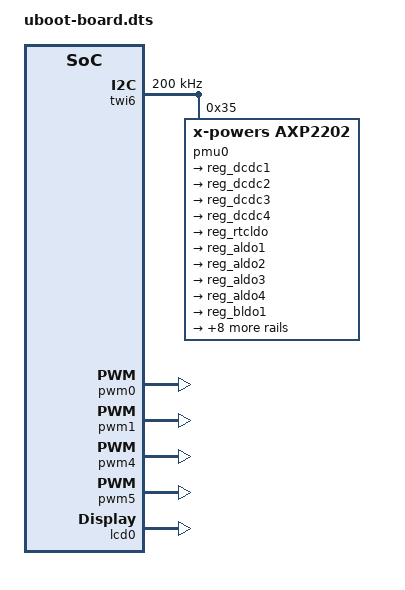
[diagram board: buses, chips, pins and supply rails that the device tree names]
/*
 * Allwinner Technology CO., Ltd. sun50iw10p1 soc board.
 *
 * soc board support.
 */
&power_sply {
	bldo1_vol = <1800>;
	bldo2_vol = <1001800>;
	bldo3_vol = <1001800>;
	cldo2_vol = <1001800>;
	cldo4_vol = <1103300>;
	dcdc1_mode = <1>;
	ext_dcdc0_mode = <1>;
	ext_dcdc1_mode = <1>;
	ext_dcdc2_mode = <1>;
	dcdc2_mode = <1>;
	dcdc3_mode = <1>;
	bc12_mode = <0>;
	ntc_status = <2>;
	battery_exist = <0>;
};

&platform {
	eraseflag   = <1>;
	next_work   = <3>;
	debug_mode  = <1>;
};

/*
 *recovery_key_used :  模块使能端，    1：开启，0：关闭
 *press_mode_enable :  长短按模式使能，1：开启，0：关闭
 *                     a)如果开启了该模式，则key_work_mode失效，short_press_mode和long_press_mode生效,
 *                     recovery按键可以通过长按和短按来触发两种不同的模式;
 *                     b)如果关闭了该模式，则key_work_mode生效，recovery按键只能触发一种模式.
 *key_work_mode     :  模式选择
 *                     0: 刷机,
 *                     1: 一键恢复(uboot阶段),
 *                     2: 安卓recovery,
 *                     3: 安卓恢复出厂设置.
 *                     如果不设置，模式为安卓recovery.
 *short_press_mode  :  长按触发的模式，选项同上.
 *long_press_mode   :  短按触发的模式，选项同上.
 *key_press_time    :  定义长按的时间，单位:毫秒.
 *recovery_key      :  按键配置.
 */
&adc_boot_recovery {
       recovery_adc_used = <0x1>;
       recovery_adc_channel = <0x1>;
       press_mode_enable = <0x1>;
       adc_work_mode = <0x2>;
       short_press_mode = <0x0>;
       long_press_mode = <0x2>;
       key_press_time = <0x1388>;
       key_min = <9>;
       key_max = <11>;
};

&target {
	boot_clock = <1008>;	/*CPU boot frequency, Unit: MHz*/
	storage_type = <0xffffffff>; /*boot medium, 0-nand, 1-card0, 2-card2, -1(defualt)auto scan*/
	burn_key = <1>;		/*1:support burn key; 0:not support burn key*/
	dragonboard_test = <0>;	/*1:support card boot dragonboard; 0:not support card boot dragonboard*/
};

&charger0 {
	pmu_safe_vol = <3400>;
	ntc_cur = <50>;
	safe_temp_H = <600>;//60
	safe_temp_L = <0xFFFFFFCE>;//-5
	pmu_bat_temp_para1 = <4592>;
	pmu_bat_temp_para2 = <2781>;
	pmu_bat_temp_para3 = <2125>;
	pmu_bat_temp_para4 = <1738>;
	pmu_bat_temp_para5 = <1390>;
	pmu_bat_temp_para6 = <1118>;
	pmu_bat_temp_para7 = <906>;
	pmu_bat_temp_para8 = <606>;
	pmu_bat_temp_para9 = <415>;
	pmu_bat_temp_para10 = <290>;
	pmu_bat_temp_para11 = <244>;
	pmu_bat_temp_para12 = <206>;
	pmu_bat_temp_para13 = <175>;
	pmu_bat_temp_para14 = <150>;
	pmu_bat_temp_para15 = <110>;
	pmu_bat_temp_para16 = <83>;
};

&twi6 {
	clock-frequency = <200000>;
	pinctrl-0 = <&s_twi0_pins_a>;
	pinctrl-1 = <&s_twi0_pins_b>;
	twi-supply = <&reg_aldo3>;
	no_suspend = <1>;
	twi_drv_used = <1>;
	status = "okay";
	pmu0: pmu@34 {
		compatible = "x-powers,axp2202";
		status = "okay";
		reg = <0x35>;
		/* interrupts = <0 IRQ_TYPE_LEVEL_LOW>;
		 * interrupt-parent = <&gic>; */
		x-powers,drive-vbus-en;

		wakeup-source;

		regulator0: regulators@0 {
			reg_dcdc1: dcdc1 {
				regulator-name = "axp2202-dcdc1";
			};
			reg_dcdc2: dcdc2 {
				regulator-name = "axp2202-dcdc2";
			};
			reg_dcdc3: dcdc3 {
				regulator-name = "axp2202-dcdc3";
			};
			reg_dcdc4: dcdc4 {
				regulator-name = "axp2202-dcdc4";
			};
			reg_rtcldo: rtcldo {
				/* RTC_LDO is a fixed, always-on regulator */
				regulator-name = "axp2202-rtcldo";
			};
			reg_aldo1: aldo1 {
				regulator-name = "axp2202-aldo1";
			};
			reg_aldo2: aldo2 {
				regulator-name = "axp2202-aldo2";
			};
			reg_aldo3: aldo3 {
				regulator-name = "axp2202-aldo3";
			};
			reg_aldo4: aldo4 {
				regulator-name = "axp2202-aldo4";
			};
			reg_bldo1: bldo1 {
				regulator-name = "axp2202-bldo1";
			};
			reg_bldo2: bldo2 {
				regulator-name = "axp2202-bldo2";
			};
			reg_bldo3: bldo3 {
				regulator-name = "axp2202-bldo3";
			};
			reg_bldo4: bldo4 {
				regulator-name = "axp2202-bldo4";
			};
			reg_cldo1: cldo1 {
				regulator-name = "axp2202-cldo1";
			};
			reg_cldo2: cldo2 {
				regulator-name = "axp2202-cldo2";
			};
			reg_cldo3: cldo3 {
				regulator-name = "axp2202-cldo3";
			};
			reg_cldo4: cldo4 {
				regulator-name = "axp2202-cldo4";
			};
			reg_cpusldo: cpusldo {
				regulator-name = "axp2202-cpusldo";
			};
		};
	};
};

&recovery_key {
	device_type = "recovery_key";
	key_max = <11>;
	key_min = <9>;
};

&pwm0_pin_a {
	allwinner,pins = "PD23";
	allwinner,function = "pwm0";
	allwinner,drive = <0>;
	allwinner,muxsel = <0x02>;
};

&pwm0_pin_b {
	allwinner,pins = "PD23";
	allwinner,function = "io_disabled";
	allwinner,muxsel = <0x0f>;
	allwinner,drive = <0>;
	allwinner,pull = <0>;
};

&pwm1_pin_a {
	allwinner,pins = "PD22";
	allwinner,function = "pwm1";
	allwinner,drive = <0>;
	allwinner,muxsel = <0x02>;
};

&pwm1_pin_b {
	allwinner,pins = "PD22";
	allwinner,function = "io_disabled";
	allwinner,muxsel = <0x0f>;
	allwinner,drive = <0>;
	allwinner,pull = <0>;
};

&pwm2_pin_a {
	allwinner,pins = "PB11";
	allwinner,function = "pwm2";
	allwinner,drive = <0>;
	allwinner,muxsel = <0x05>;
};

&pwm2_pin_b {
	allwinner,pins = "PB11";
	allwinner,function = "io_disabled";
	allwinner,muxsel = <0x0f>;
	allwinner,drive = <0>;
	allwinner,pull = <0>;
};

&pwm3_pin_a {
	allwinner,pins = "PB12";
	allwinner,function = "pwm3";
	allwinner,drive = <0>;
	allwinner,muxsel = <0x05>;
};

&pwm3_pin_b {
	allwinner,pins = "PB12";
	allwinner,function = "io_disabled";
	allwinner,muxsel = <0x0f>;
	allwinner,drive = <0>;
	allwinner,pull = <0>;
};

&pwm4_pin_a {
	allwinner,pins = "PI3";
	allwinner,function = "pwm4";
	allwinner,drive = <0>;
	allwinner,muxsel = <0x04>;
};

&pwm4_pin_b {
	allwinner,pins = "PI3";
	allwinner,function = "io_disabled";
	allwinner,muxsel = <0x0f>;
	allwinner,drive = <0>;
	allwinner,pull = <0>;
};

&pwm5_pin_a {
	allwinner,pins = "PI4";
	allwinner,function = "pwm5";
	allwinner,drive = <0>;
	allwinner,muxsel = <0x04>;
};

&pwm5_pin_b {
	allwinner,pins = "PI4";
	allwinner,function = "io_disabled";
	allwinner,muxsel = <0x0f>;
	allwinner,drive = <0>;
	allwinner,pull = <0>;
};

&pwm0 {
	pinctrl-names = "active", "sleep";
	pinctrl-0 = <&pwm0_pin_a>;
	pinctrl-1 = <&pwm0_pin_b>;
	status = "okay";
};

&pwm1 {
	pinctrl-names = "active", "sleep";
	pinctrl-0 = <&pwm1_pin_a>;
	pinctrl-1 = <&pwm1_pin_b>;
	status = "okay";
};

&pwm2 {
	pinctrl-names = "active", "sleep";
	pinctrl-0 = <&pwm2_pin_a>;
	pinctrl-1 = <&pwm2_pin_b>;
	status = "disabled";
};

&pwm3 {
	pinctrl-names = "active", "sleep";
	pinctrl-0 = <&pwm3_pin_a>;
	pinctrl-1 = <&pwm3_pin_b>;
	status = "disabled";
};

&pwm4 {
	pinctrl-names = "active", "sleep";
	pinctrl-0 = <&pwm4_pin_a>;
	pinctrl-1 = <&pwm4_pin_b>;
	status = "okay";
};

&pwm5 {
	pinctrl-names = "active", "sleep";
	pinctrl-0 = <&pwm5_pin_a>;
	pinctrl-1 = <&pwm5_pin_b>;
	status = "okay";
};

&sdc0_pins_a {
	allwinner,pins = "PF0", "PF1", "PF2",
			 "PF3", "PF4", "PF5";
	allwinner,function = "sdc0";
	allwinner,muxsel = <2>;
	allwinner,drive = <3>;
	allwinner,pull = <1>;
};

&sdc0_pins_b {
	allwinner,pins = "PF0", "PF1", "PF2",
			 "PF3", "PF4", "PF5";
	allwinner,function = "io_disabled";
	allwinner,muxsel = <7>;
	allwinner,drive = <1>;
	allwinner,pull = <1>;
};

&sdc0_pins_c {
	allwinner,pins = "PF0", "PF1", "PF2",
			 "PF3", "PF4", "PF5";
	allwinner,function = "uart0_jtag";
	allwinner,muxsel = <3>;
	allwinner,drive = <1>;
	allwinner,pull = <1>;
};


&sdc2_pins_a {
	allwinner,pins = "PC1", "PC5", "PC6",
			 "PC8", "PC9", "PC10", "PC11",
			 "PC13", "PC14", "PC15", "PC16";
	allwinner,function = "sdc2";
	allwinner,muxsel = <3>;
	allwinner,drive = <3>;
	allwinner,pull = <1>;
};

&sdc2_pins_b {
	allwinner,pins = "PC0", "PC1", "PC5", "PC6",
			 "PC8", "PC9", "PC10", "PC11",
			 "PC13", "PC14", "PC15", "PC16";
	allwinner,function = "io_disabled";
	allwinner,muxsel = <7>;
	allwinner,drive = <1>;
	allwinner,pull = <1>;
};

&sdc2_pins_c {
	allwinner,pins = "PC0";
	allwinner,function = "sdc2";
	allwinner,muxsel = <3>;
	allwinner,drive = <3>;
	allwinner,pull = <2>;
};

&nand0_pins_a {
	allwinner,pins = "PC0", "PC1", "PC2", "PC5",
			 "PC8", "PC9", "PC10", "PC11",
			 "PC12", "PC13", "PC14", "PC15",
			 "PC16";
	allwinner,pname= "nand0_we", "nand0_ale","nand0_cle", "nand0_nre",
			 "nand0_d0", "nand0_d1", "nand0_d2", "nand0_d3",
			 "nand0_d4", "nand0_d5", "nand0_d6", "nand0_d7",
			 "nand0_ndqs";
	allwinner,function = "nand0";
	allwinner,muxsel = <2>;
	allwinner,drive = <1>;
	allwinner,pull = <0>;
};

&nand0_pins_b {
	allwinner,pins = "PC4", "PC6", "PC03", "PC07";
	allwinner,pname= "nand0_ce0", "nand0_rb0", "nand0_ce1", "nand0_rb1";
	allwinner,function = "nand0";
	allwinner,muxsel = <2>;
	allwinner,drive = <1>;
	allwinner,pull = <1>;	/* only RB&CE should be pulled up */
};

&nand0_pins_c {
	allwinner,pins = "PC0", "PC1", "PC2", "PC3",
			 "PC4", "PC5", "PC6", "PC7",
			 "PC8", "PC9", "PC10", "PC11",
			 "PC12", "PC13", "PC14", "PC15",
			 "PC16";
	allwinner,function = "io_disabled";
	allwinner,muxsel = <7>;
	allwinner,drive = <1>;
	allwinner,pull = <0>;
};

&spi0_pins_a {
	allwinner,pins = "PC12", "PC2", "PC4";
	allwinner,pname = "spi0_clk", "spi0_mosi", "spi0_miso";
	allwinner,function = "spi0";
	allwinner,muxsel = <4>;
	allwinner,drive = <1>;
	allwinner,pull = <0>;
};

&spi0_pins_b {
	allwinner,pins = "PC3", "PC15", "PC16";
	allwinner,pname = "spi0_cs0", "spi0_wp", "spi0_hold";
	allwinner,function = "spi0";
	allwinner,muxsel = <4>;
	allwinner,drive = <1>;
	allwinner,pull = <1>;   // only CS should be pulled up
};

&spi0_pins_c {
	allwinner,pins = "PC12", "PC2", "PC4", "PC3", "PC15", "PC16";
	allwinner,function = "io_disabled";
	allwinner,muxsel = <15>;
	allwinner,drive = <1>;
	allwinner,pull = <0>;
};

&lvds0_pins_a {
	allwinner,pins = "PD0", "PD1", "PD2", "PD3", "PD4", "PD5", "PD8", "PD9", "PD6", "PD7";
	allwinner,pname = "PD0", "PD1", "PD2", "PD3", "PD4", "PD5", "PD8", "PD9", "PD6", "PD7";
	allwinner,function = "lvds0";
	allwinner,muxsel = <3>;
	allwinner,drive = <3>;
	allwinner,pull = <0>;
};

&lvds0_pins_b {
	allwinner,pins = "PD0", "PD1", "PD2", "PD3", "PD4", "PD5", "PD8", "PD9", "PD6", "PD7";
	allwinner,pname = "PD0", "PD1", "PD2", "PD3", "PD4", "PD5", "PD8", "PD9", "PD6", "PD7";
	allwinner,function = "lvds0_suspend";
	allwinner,muxsel = <7>;
	allwinner,drive = <3>;
	allwinner,pull = <0>;
};

&lvds1_pins_a {
	allwinner,pins = "PD10", "PD11", "PD12", "PD13", "PD14", "PD15", "PD18", "PD19", "PD16", "PD17";
	allwinner,pname = "PD10", "PD11", "PD12", "PD13", "PD14", "PD15", "PD18", "PD19", "PD16", "PD17";
	allwinner,function = "lvds1";
	allwinner,muxsel = <3>;
	allwinner,drive = <3>;
	allwinner,pull = <0>;
};

&lvds1_pins_b {
	allwinner,pins = "PD10", "PD11", "PD12", "PD13", "PD14", "PD15", "PD18", "PD19", "PD16", "PD17";
	allwinner,pname = "PD10", "PD11", "PD12", "PD13", "PD14", "PD15", "PD18", "PD19", "PD16", "PD17";
	allwinner,function = "lvds1_suspend";
	allwinner,muxsel = <7>;
	allwinner,drive = <3>;
	allwinner,pull = <0>;
};

&lvds2_pins_a {
	allwinner,pins = "PJ7", "PJ6", "PJ5", "PJ4", "PJ3", "PJ2", "PJ1", "PJ0", "PJ8", "PJ9";
	allwinner,pname = "PJ7", "PJ6", "PJ5", "PJ4", "PJ3", "PJ2", "PJ1", "PJ0", "PJ8", "PJ9";
	allwinner,function = "lvds2";
	allwinner,muxsel = <3>;
	allwinner,drive = <3>;
	allwinner,pull = <0>;
};

&lvds2_pins_b {
	allwinner,pins = "PJ7", "PJ6", "PJ5", "PJ4", "PJ3", "PJ2", "PJ1", "PJ0", "PJ8", "PJ9";
	allwinner,pname = "PJ7", "PJ6", "PJ5", "PJ4", "PJ3", "PJ2", "PJ1", "PJ0", "PJ8", "PJ9";
	allwinner,function = "lvds2_suspend";
	allwinner,muxsel = <7>;
	allwinner,drive = <3>;
	allwinner,pull = <0>;
};

&lvds3_pins_a {
	allwinner,pins = "PJ10", "PJ11", "PJ12", "PJ13", "PJ14", "PJ15", "PJ16", "PJ17", "PJ18", "PJ19";
	allwinner,pname = "PJ10", "PJ11", "PJ12", "PJ13", "PJ14", "PJ15", "PJ16", "PJ17", "PJ18", "PJ19";
	allwinner,function = "lvds3";
	allwinner,muxsel = <3>;
	allwinner,drive = <3>;
	allwinner,pull = <0>;
};

&lvds3_pins_b {
	allwinner,pins = "PJ10", "PJ11", "PJ12", "PJ13", "PJ14", "PJ15", "PJ16", "PJ17", "PJ18", "PJ19";
	allwinner,pname = "PJ10", "PJ11", "PJ12", "PJ13", "PJ14", "PJ15", "PJ16", "PJ17", "PJ18", "PJ19";
	allwinner,function = "lvds3_suspend";
	allwinner,muxsel = <7>;
	allwinner,drive = <3>;
	allwinner,pull = <0>;
};

&lcd1_lvds2link_pins_a {
	allwinner,pins = "PJ10", "PJ11", "PJ12", "PJ13", "PJ14", "PJ15", "PJ16", "PJ17", "PJ18", "PJ19", \
	"PJ7", "PJ6", "PJ5", "PJ4", "PJ3", "PJ2", "PJ1", "PJ0", "PJ8", "PJ9";
	allwinner,pname = "PJ10", "PJ11", "PJ12", "PJ13", "PJ14", "PJ15", "PJ16", "PJ17", "PJ18", "PJ19", \
	"PJ7", "PJ6", "PJ5", "PJ4", "PJ3", "PJ2", "PJ1", "PJ0", "PJ8", "PJ9";
	allwinner,function = "lvds3";
	allwinner,muxsel = <3>;
	allwinner,drive = <3>;
	allwinner,pull = <0>;
};

&lcd1_lvds2link_pins_b {
	allwinner,pins = "PJ10", "PJ11", "PJ12", "PJ13", "PJ14", "PJ15", "PJ16", "PJ17", "PJ18", "PJ19", \
	"PJ7", "PJ6", "PJ5", "PJ4", "PJ3", "PJ2", "PJ1", "PJ0", "PJ8", "PJ9";
	allwinner,pname = "PJ10", "PJ11", "PJ12", "PJ13", "PJ14", "PJ15", "PJ16", "PJ17", "PJ18", "PJ19", \
	"PJ7", "PJ6", "PJ5", "PJ4", "PJ3", "PJ2", "PJ1", "PJ0", "PJ8", "PJ9";
	allwinner,function = "lvds3_suspend";
	allwinner,muxsel = <7>;
	allwinner,drive = <3>;
	allwinner,pull = <0>;
};

&lvds2link_pins_a {
	allwinner,pins = "PD0", "PD1", "PD2", "PD3", "PD4", "PD5", "PD8", "PD9", "PD6", "PD7", \
	"PD10", "PD11", "PD12", "PD13", "PD14", "PD15", "PD18", "PD19", "PD16", "PD17";
	allwinner,pname = "PD0", "PD1", "PD2", "PD3", "PD4", "PD5", "PD8", "PD9", "PD6", "PD7", \
	"PD10", "PD11", "PD12", "PD13", "PD14", "PD15", "PD18", "PD19", "PD16", "PD17";
	allwinner,function = "lvds2link";
	allwinner,muxsel = <3>;
	allwinner,drive = <3>;
	allwinner,pull = <0>;
};

&lvds2link_pins_b {
	allwinner,pins = "PD0", "PD1", "PD2", "PD3", "PD4", "PD5", "PD8", "PD9", "PD6", "PD7", \
	"PD10", "PD11", "PD12", "PD13", "PD14", "PD15", "PD18", "PD19", "PD16", "PD17";
	allwinner,pname = "PD0", "PD1", "PD2", "PD3", "PD4", "PD5", "PD8", "PD9", "PD6", "PD7", \
	"PD10", "PD11", "PD12", "PD13", "PD14", "PD15", "PD18", "PD19", "PD16", "PD17";
	allwinner,function = "lvds2link_suspend";
	allwinner,muxsel = <7>;
	allwinner,drive = <3>;
	allwinner,pull = <0>;
};

&rgb24_pins_a {
	allwinner,pins = "PJ0", "PJ1", "PJ2", "PJ3", "PJ4", "PJ5", "PJ6", "PJ7", "PJ8", "PJ9", \
	"PJ10", "PJ11", "PJ12", "PJ13", "PJ14", "PJ15", "PJ16", "PJ17", "PJ18", "PJ19", \
	"PJ20", "PJ21", "PJ22", "PJ23", "PJ24", "PJ25", "PJ26", "PJ27";
	allwinner,pname = "PJ0", "PJ1", "PJ2", "PJ3", "PJ4", "PJ5", "PJ6", "PJ7", "PJ8", "PJ9", \
	"PJ10", "PJ11", "PJ12", "PJ13", "PJ14", "PJ15", "PJ16", "PJ17", "PJ18", "PJ19", \
	"PJ20", "PJ21", "PJ22", "PJ23", "PJ24", "PJ25", "PJ26", "PJ27";
	allwinner,function = "rgb24";
	allwinner,muxsel = <2>;
	allwinner,drive = <3>;
	allwinner,pull = <0>;
};

&rgb24_pins_b {
	allwinner,pins = "PJ0", "PJ1", "PJ2", "PJ3", "PJ4", "PJ5", "PJ6", "PJ7", "PJ8", "PJ9", \
	"PJ10", "PJ11", "PJ12", "PJ13", "PJ14", "PJ15", "PJ16", "PJ17", "PJ18", "PJ19", \
	"PJ20", "PJ21", "PJ22", "PJ23", "PJ24", "PJ25", "PJ26", "PJ27";
	allwinner,pname = "PJ0", "PJ1", "PJ2", "PJ3", "PJ4", "PJ5", "PJ6", "PJ7", "PJ8", "PJ9", \
	"PJ10", "PJ11", "PJ12", "PJ13", "PJ14", "PJ15", "PJ16", "PJ17", "PJ18", "PJ19", \
	"PJ20", "PJ21", "PJ22", "PJ23", "PJ24", "PJ25", "PJ26", "PJ27";
	allwinner,function = "rgb24_suspend";
	allwinner,muxsel = <7>;
	allwinner,drive = <3>;
	allwinner,pull = <0>;
};

&rgb18_pins_a {
	allwinner,pins = "PD0", "PD1", "PD2", "PD3", "PD4", "PD5", "PD6", "PD7", "PD8", "PD9", \
	"PD10", "PD11", "PD12", "PD13", "PD14", "PD15", "PD16", "PD17", "PD18", "PD19", \
	"PD20", "PD21";
	allwinner,pname = "PD0", "PD1", "PD2", "PD3", "PD4", "PD5", "PD6", "PD7", "PD8", "PD9", \
	"PD10", "PD11", "PD12", "PD13", "PD14", "PD15", "PD16", "PD17", "PD18", "PD19", \
	"PD20", "PD21";
	allwinner,function = "rgb18";
	allwinner,muxsel = <2>;
	allwinner,drive = <3>;
	allwinner,pull = <0>;
};

&rgb18_pins_b {
	allwinner,pins = "PD0", "PD1", "PD2", "PD3", "PD4", "PD5", "PD6", "PD7", "PD8", "PD9", \
	"PD10", "PD11", "PD12", "PD13", "PD14", "PD15", "PD16", "PD17", "PD18", "PD19", \
	"PD20", "PD21";
	allwinner,pname = "PD0", "PD1", "PD2", "PD3", "PD4", "PD5", "PD6", "PD7", "PD8", "PD9", \
	"PD10", "PD11", "PD12", "PD13", "PD14", "PD15", "PD16", "PD17", "PD18", "PD19", \
	"PD20", "PD21";
	allwinner,function = "rgb18_suspend";
	allwinner,muxsel = <7>;
	allwinner,drive = <1>;
	allwinner,pull = <0>;
};

&eink_pins_a {
	allwinner,pins = "PD0", "PD1", "PD2", "PD3", "PD4", "PD5", "PD6", "PD7", "PD8", "PD9", \
	"PD10", "PD11", "PD12", "PD13", "PD14", "PD15", "PD16", "PD17", "PD18", "PD19", \
	"PD20", "PD21", "PD22";
	allwinner,pname = "eink_pin0", "eink_pin1", "eink_pin2", "eink_pin3", "eink_pin4", \
			  "eink_pin5", "eink_pin6", "eink_pin7", "eink_pin8", "eink_pin9", \
			  "eink_pin10", "eink_pin11", "eink_pin12", "eink_pin13", "eink_pin14", \
			  "eink_pin15", "eink_pinoeh", "eink_pinleh", "eink_pinckh", "eink_pinsth", \
			  "eink_pinckv", "eink_pinmod", "eink_pinstv";
	allwinner,function = "eink";
	allwinner,muxsel = <5>;
	allwinner,drive = <3>;
	allwinner,pull = <0>;
};

&eink_pins_b {
	allwinner,pins = "PD0", "PD1", "PD2", "PD3", "PD4", "PD5", "PD6", "PD7", "PD8", "PD9", \
	"PD10", "PD11", "PD12", "PD13", "PD14", "PD15", "PD16", "PD17", "PD18", "PD19", \
	"PD20", "PD21", "PD22";
	allwinner,pname = "eink_pin0", "eink_pin1", "eink_pin2", "eink_pin3", "eink_pin4", \
			  "eink_pin5", "eink_pin6", "eink_pin7", "eink_pin8", "eink_pin9", \
			  "eink_pin10", "eink_pin11", "eink_pin12", "eink_pin13", "eink_pin14", \
			  "eink_pin15", "eink_pinoeh", "eink_pinleh", "eink_pinckh", "eink_pinsth", \
			  "eink_pinckv", "eink_pinmod", "eink_pinstv";
	allwinner,function = "eink_suspend";
	allwinner,muxsel = <7>;
	allwinner,drive = <1>;
	allwinner,pull = <0>;
};

&dsi0_4lane_pins_a {
        allwinner,pins = "PD0", "PD1", "PD2", "PD3", "PD4", "PD5", "PD6", "PD7", "PD8", "PD9";
        allwinner,pname = "PD0", "PD1", "PD2", "PD3", "PD4", "PD5", "PD6", "PD7", "PD8", "PD9";
        allwinner,function = "dsi4lane";
        allwinner,muxsel = <4>;
        allwinner,drive = <3>;
        allwinner,pull = <0>;
};

&dsi0_4lane_pins_b {
        allwinner,pins = "PD0", "PD1", "PD2", "PD3", "PD4", "PD5", "PD6", "PD7", "PD8", "PD9";
        allwinner,pname = "PD0", "PD1", "PD2", "PD3", "PD4", "PD5", "PD6", "PD7", "PD8", "PD9";
        allwinner,function = "dsi4lane_suspend";
        allwinner,muxsel = <7>;
        allwinner,drive = <1>;
        allwinner,pull = <0>;
};

&dsi1_4lane_pins_a {
        allwinner,pins = "PD10", "PD11", "PD12", "PD13", "PD14", "PD15", "PD16", "PD17", "PD18", "PD19";
        allwinner,pname = "PD10", "PD11", "PD12", "PD13", "PD14", "PD15", "PD16", "PD17", "PD18", "PD19";
        allwinner,function = "dsi1";
        allwinner,muxsel = <4>;
        allwinner,drive = <3>;
        allwinner,pull = <0>;
};

&dsi1_4lane_pins_b {
        allwinner,pins = "PD10", "PD11", "PD12", "PD13", "PD14", "PD15", "PD16", "PD17", "PD18", "PD19";
        allwinner,pname = "PD10", "PD11", "PD12", "PD13", "PD14", "PD15", "PD16", "PD17", "PD18", "PD19";
        allwinner,function = "io_disabled";
        allwinner,muxsel = <7>;
        allwinner,drive = <1>;
        allwinner,pull = <0>;
};


&card0_boot_para {  /* Avoid dtc compiling warnings. @TODO: Developer should modify this to the actual value */
	/* reg = <0x0 0x2 0x0 0x0>;  [> Avoid dtc compiling warnings. @TODO: Developer should modify this to the actual value <] */
	device_type = "card0_boot_para";
	card_ctrl = <0x0>;
	card_high_speed = <0x1>;
	card_line = <0x4>;
	clk_mmc = "sdmmc0_mod";
	pll-0 = "hosc";
	pll-1 = "pll_periph1_400m";
	pll-2 = "pll_periph1_300m";
	pinctrl-0 = <&sdc0_pins_a>;
};

&card2_boot_para {
	/*
	* Avoid dtc compiling warnings.
	* @TODO: Developer should modify this to the actual value
	*/
	reg = <0x0 0x3 0x0 0x0>;
	device_type = "card2_boot_para";
	card_ctrl = <0x2>;
	card_high_speed = <0x1>;
	card_line = <0x8>;
	clk_mmc = "sdmmc2_mod";
	pll-0 = "hosc";
	pll-1 = "pll_periph1_800m";
	pll-2 = "pll_periph1_600m";
	pinctrl-0 = <&sdc2_pins_a &sdc2_pins_c>;
	sdc_ex_dly_used = <0x2>;
	sdc_tm4_hs200_max_freq = <150>;
	sdc_tm4_hs400_max_freq = <150>;
	sdc_io_1v8 = <0x1>;
	sdc_type = "tm4";
};

&gpio_bias {  /* Avoid dtc compiling warnings. @TODO: Developer should modify this to the actual value */
	device_type = "gpio_bias";
	pc_bias = <1800>;
	pl_supply = "aldo3_vol";
};

&power_delay {
	device_type = "power_delay";
	aldo3_vol_delay = <20000>;
};

&nand0 {
	compatible = "allwinner,sun55iw3-nand";
	device_type = "nand0";
	//reg = <0x0 0x04011000 0x0 0x1000>;/* nand0 */
	pinctrl-names = "default", "sleep";
	pinctrl-0 = <&nand0_pins_a &nand0_pins_b>;
	pinctrl-1 = <&nand0_pins_c>;
	nand0_regulator1 = "vcc-nand";
	nand0_regulator2 = "none";
	nand0_cache_level = <0x55aaaa55>;
	nand0_flush_cache_num = <0x55aaaa55>;
	nand0_capacity_level = <0x55aaaa55>;
	nand0_id_number_ctl = <0x55aaaa55>;
	nand0_print_level = <0x55aaaa55>;
	nand0_p0 = <0x55aaaa55>;
	nand0_p1 = <0x55aaaa55>;
	nand0_p2 = <0x55aaaa55>;
	nand0_p3 = <0x55aaaa55>;
	chip_code = "sun50iw10";
	status = "disabled";
};

&spi0 {
	clock-frequency = <100000000>;
	pinctrl-0 = <&spi0_pins_a &spi0_pins_b>;
	pinctrl-1 = <&spi0_pins_c>;
	pinctrl-names = "default", "sleep";
	spi_slave_mode = <0>;
	spi_dbi_enable = <0>;
	spi0_cs_number = <1>;
	status = "disabled";

	spi_board0 {
		device_type = "spi_board0";
		compatible = "spi-nor";
		spi-max-frequency = <100000000>;
		m25p,fast-read = <1>;
		/*individual_lock;*/
		reg = <0x0>;
		spi-rx-bus-width=<0x01>;
		spi-tx-bus-width=<0x01>;
		status="disabled";
	};

	spi-nand@0 {
		compatible = "spi-nand";
		spi-max-frequency=<50000000>;
		reg = <0x0>;
		spi-rx-bus-width=<0x01>;
		spi-tx-bus-width=<0x01>;
		status="disabled";
	};
};

/* ---------------------------------------------------------------------------------- */
/* disp init configuration */
/*  */
/* disp_mode             (0:screen0<screen0,fb0>) */
/* screenx_output_type   (0:none; 1:lcd; 2:tv; 3:hdmi;5:vdpo) */
/* screenx_output_mode   (used for hdmi output, 0:480i 1:576i 2:480p 3:576p 4:720p50) */
/*                       (5:720p60 6:1080i50 7:1080i60 8:1080p24 9:1080p50 10:1080p60) */
/* screenx_output_format (for hdmi, 0:RGB 1:yuv444 2:yuv422 3:yuv420) */
/* screenx_output_bits   (for hdmi, 0:8bit 1:10bit 2:12bit 2:16bit) */
/* screenx_output_eotf   (for hdmi, 0:reserve 4:SDR 16:HDR10 18:HLG) */
/* screenx_output_cs     (for hdmi, 0:undefined  257:BT709 260:BT601  263:BT2020) */
/* screenx_output_dvi_hdmi (for hdmi, 0:undefined 1:dvi mode 2:hdmi mode) */
/* screen0_output_range   (for hdmi, 0:default 1:full 2:limited) */
/* screen0_output_scan    (for hdmi, 0:no data 1:overscan 2:underscan) */
/* screen0_output_aspect_ratio  (for hdmi, 8-same as original picture 9-4:3 10-16:9 11-14:9) */
/* fbx format            (4:RGB655 5:RGB565 6:RGB556 7:ARGB1555 8:RGBA5551 9:RGB888 10:ARGB8888 12:ARGB4444) */
/* fbx pixel sequence    (0:ARGB 1:BGRA 2:ABGR 3:RGBA) */
/* fb0_scaler_mode_enable(scaler mode enable, used FE) */
/* fbx_width,fbx_height  (framebuffer horizontal/vertical pixels, fix to output resolution while equal 0) */
/* lcdx_backlight        (lcd init backlight,the range:[0,256],default:197 */
/* lcdx_yy               (lcd init screen bright/contrast/saturation/hue, value:0~100, default:50/50/57/50) */
/* lcd0_contrast         (LCD contrast, 0~100) */
/* lcd0_saturation       (LCD saturation, 0~100) */
/* lcd0_hue              (LCD hue, 0~100) */
/* framebuffer software rotation setting: */
/* disp_rotation_used:   (0:disable; 1:enable,you must set fbX_width to lcd_y, */
/* set fbX_height to lcd_x) */
/* degreeX:              (X:screen index; 0:0 degree; 1:90 degree; 3:270 degree) */
/* degreeX_Y:            (X:screen index; Y:layer index 0~15; 0:0 degree; 1:90 degree; 3:270 degree) */
/* devX_output_type : config output type in bootGUI framework in UBOOT-2018. */
/*                                    (0:none; 1:lcd; 2:tv; 4:hdmi;) */
/* devX_output_mode : config output resolution(see include/video/sunxi_display2.h) of bootGUI framework in UBOOT-2018 */
/* devX_screen_id   : config display index of bootGUI framework in UBOOT-2018 */
/* devX_do_hpd      : whether do hpd detectation or not in UBOOT-2018 */
/* chn_cfg_mode     : Hardware DE channel allocation config. 0:single display with 6 */
/*                                    channel, 1:dual display with 4 channel in main display and 2 channel in second */
/*                    display, 2:dual display with 3 channel in main display and 3 channel in second */
/*                    in display. */
/* ----------------------------------------------------------------------------------*/
&disp {
        disp_init_enable         = <1>;
        disp_mode                = <0>;

        screen0_output_type      = <1>;
        screen0_output_mode      = <4>;
        screen0_to_lcd_index     = <0>;

        screen1_output_type      = <1>;
        screen1_output_mode      = <4>;

        screen1_output_format    = <0>;
        screen1_output_bits      = <0>;
        screen1_output_eotf      = <4>;
        screen1_output_cs        = <257>;
        screen1_output_dvi_hdmi  = <2>;
        screen1_output_range     = <2>;
        screen1_output_scan      = <0>;
        screen1_output_aspect_ratio = <8>;
        screen1_to_lcd_index     = <2>;

        dev_num                  = <1>;
        dev0_output_type         = <1>;
        dev0_output_mode         = <4>;
        dev0_screen_id           = <0>;
        dev0_do_hpd              = <0>;

        dev1_output_type         = <1>;
        dev1_output_mode         = <4>;
        dev1_screen_id           = <1>;
        dev1_do_hpd              = <1>;

        def_output_dev           = <0>;
        hdmi_mode_check          = <1>;

        fb0_format               = <0>;
        fb0_width                = <1280>;
        fb0_height               = <800>;
        fb0_rot_used		 = <0>;
        fb0_rot_degree		 = <0>;

        fb1_format               = <0>;
        fb1_width                = <1920>;
        fb1_height               = <1080>;
        fb1_rot_used		 = <0>;
        fb1_rot_degree		 = <0>;

        chn_cfg_mode             = <3>;

        disp_para_zone           = <1>;
        /*VCC-LCD*/
        dcdc4-supply = <&reg_dcdc4>;
        /*VCC-DSI*/
        cldo1-supply = <&reg_cldo1>;
        /*VCC-PD*/
        cldo3-supply = <&reg_cldo3>;
};

/*----------------------------------------------------------------------------------
;lcd0 configuration

;lcd_if:               0:hv(sync+de); 1:8080; 2:ttl; 3:lvds; 4:dsi; 5:edp; 6:extend dsi
;lcd_hv_if             0:Parallel RGB; 8:Serial RGB; 10:Dummy RGB; 11: RGB Dummy;12:CCIR656
;lcd_hv_clk_phase      0:0 degree;1:90 degree;2:180 degree;3:270 degree
;lcd_hv_sync_polarity  0:vs low,hs low; 1:vs high,hslow; 2:vs low,hs high; 3:vs high,hs high
;lcd_hv_syuv_seq       0:YUYV; 1:YVYU; 2:UYVY; 3:VYUY
;lcd_cpu_if            0:18bit/1 cycle parallel(RGB666); 4:16bit/1cycle parallel (RGB565)
;                      6:18bit/3 cycle parallel(RGB666); 7:16bit/2cycle parallel (RGB565)
;lcd_cpu_te            0:frame auto trigger; 1:frame triggered by te rising edge; 2:frame triggered by te falling edge;
;lcd_dsi_if            0:video mode; 1: Command mode; 2:video burst mode
;lcd_dsi_te            0:frame auto trigger; 1:frame triggered by te rising edge; 2:frame triggered by te falling edge;
;lcd_x:                lcd horizontal resolution
;lcd_y:                lcd vertical resolution
;lcd_width:            width of lcd in mm
;lcd_height:           height of lcd in mm
;lcd_dclk_freq:        in MHZ unit
;lcd_pwm_freq:         in HZ unit
;lcd_pwm_pol:          lcd backlight PWM polarity
;lcd_pwm_max_limit     lcd backlight PWM max limit(<=255)
;lcd_hbp:              hsync back porch(pixel) + hsync plus width(pixel);
;lcd_ht:               hsync total cycle(pixel)
;lcd_vbp:              vsync back porch(line) + vysnc plus width(line)
;lcd_vt:               vysnc total cycle(line)
;lcd_hspw:             hsync plus width(pixel)
;lcd_vspw:             vysnc plus width(pixel)
;lcd_lvds_if:          0:single link;  1:dual link
;lcd_lvds_colordepth:  0:8bit; 1:6bit
;lcd_lvds_mode:        0:NS mode; 1:JEIDA mode
;lcd_frm:              0:disable; 1:enable rgb666 dither; 2:enable rgb656 dither
;lcd_io_phase:         0:noraml; 1:intert phase(0~3bit: vsync phase; 4~7bit:hsync phase;
;                      8~11bit:dclk phase; 12~15bit:de phase)
;lcd_gamma_en          lcd gamma correction enable
;lcd_bright_curve_en   lcd bright curve correction enable
;lcd_cmap_en           lcd color map function enable
;deu_mode              0:smoll lcd screen; 1:large lcd screen(larger than 10inch)
;lcdgamma4iep:         Smart Backlight parameter, lcd gamma vale * 10;
;                      decrease it while lcd is not bright enough; increase while lcd is too bright
;smart_color           90:normal lcd screen 65:retina lcd screen(9.7inch)
;Pin setting for special function ie.LVDS, RGB data or vsync
;   name(donot care) = port:PD12<pin function><pull up or pull down><drive ability><output level>
;Pin setting for gpio:
;   lcd_gpio_X     = port:PD12<pin function><pull up or pull down><drive ability><output level>
;Pin setting for backlight enable pin
;   lcd_bl_en     = port:PD12<pin function><pull up or pull down><drive ability><output level>
;fsync setting, pulse to csi
;lcd_fsync_en          (0:disable fsync,1:enable)
;lcd_fsync_act_time    (active time of fsync, unit:pixel)
;lcd_fsync_dis_time    (disactive time of fsync, unit:pixel)
;lcd_fsync_pol         (0:positive;1:negative)
;gpio config: <&pio for cpu or &r_pio for cpus, port, port num, pio function,
pull up or pull down(default 0), driver level(default 1), data>
;For dual link lvds: use lvds2link_pins_a  and lvds2link_pins_b instead
;For rgb24: use rgb24_pins_a  and rgb24_pins_b instead
;For lvds1: use lvds1_pins_a  and lvds1_pins_b instead
;For lvds0: use lvds0_pins_a  and lvds0_pins_b instead
;----------------------------------------------------------------------------------*/
#if 0
&lcd0{
	/* dual-lvds */
	lcd_used            = <1>;

	lcd_driver_name     = "default_lcd";
	lcd_backlight       = <50>;
	lcd_if              = <3>;

	lcd_x               = <1920>;
	lcd_y               = <1080>;
	lcd_width           = <476>;
	lcd_height          = <268>;
	lcd_dclk_freq       = <149>;

	lcd_pwm_used        = <1>;
	lcd_pwm_ch          = <4>;
	lcd_pwm_freq        = <50000>;
	lcd_pwm_pol         = <0>;
	lcd_pwm_max_limit   = <255>;

	lcd_hbp             = <148>;
	lcd_ht              = <2200>;
	lcd_hspw            = <44>;
	lcd_vbp             = <36>;
	lcd_vt              = <1125>;
	lcd_vspw            = <5>;

	lcd_lvds_if         = <1>;
	lcd_lvds_colordepth = <0>;
	lcd_lvds_mode       = <0>;
	lcd_frm             = <0>;
	lcd_hv_clk_phase    = <0>;
	lcd_hv_sync_polarity= <0>;
	lcd_gamma_en        = <0>;
	lcd_bright_curve_en = <0>;
	lcd_cmap_en         = <0>;
	lcd_fsync_en        = <0>;
	lcd_fsync_act_time  = <1000>;
	lcd_fsync_dis_time  = <1000>;
	lcd_fsync_pol       = <0>;

	deu_mode            = <0>;
	lcdgamma4iep        = <22>;
	smart_color         = <90>;

	lcd_power     = "dcdc4";
	lcd_power1    = "cldo1";
	lcd_bl_en        = <&pio PI 2 1 0 3 1>;

	pinctrl-0 = <&lvds0_pins_a>, <&lvds1_pins_a>;
	pinctrl-1 = <&lvds0_pins_b>, <&lvds1_pins_b>;
};
#else
&lcd0{
        lcd_used            = <1>;
        status              = "okay";
        lcd_driver_name     = "bp101wx1";
        lcd_backlight       = <50>;
        lcd_if              = <3>;

        lcd_x               = <1280>;
        lcd_y               = <800>;
        lcd_width           = <150>;
        lcd_height          = <94>;
        lcd_dclk_freq       = <75>;

        lcd_pwm_used        = <1>;
        lcd_pwm_ch          = <4>;
        lcd_pwm_freq        = <50000>;
        lcd_pwm_pol         = <0>;
        lcd_pwm_max_limit   = <255>;


        lcd_hbp             = <88>;
        lcd_ht              = <1451>;
        lcd_hspw            = <18>;
        lcd_vbp             = <23>;
        lcd_vt              = <860>;
        lcd_vspw            = <10>;

        lcd_lvds_if         = <0>;
        lcd_lvds_colordepth = <0>;
        lcd_lvds_mode       = <0>;
        lcd_frm             = <0>;
        lcd_hv_clk_phase    = <0>;
        lcd_hv_sync_polarity= <0>;
        lcd_gamma_en        = <0>;
        lcd_bright_curve_en = <0>;
        lcd_cmap_en         = <0>;
        lcd_fsync_en        = <0>;
        lcd_fsync_pol       = <0>;
        lcd_fsync_act_time  = <1000>;
        lcd_fsync_dis_time  = <1000>;
        deu_mode            = <0>;
        lcdgamma4iep        = <22>;
        smart_color         = <90>;
        lcd_gpio_0 = <&pio PI 2 1 0 3 1>;
        lcd_pin_power = "cldo3";
        lcd_power = "dcdc4";
        lcd_power1 = "cldo1";
        lcd_bl_en        = <&pio PI 2 1 0 3 1>;
        pinctrl-0 = <&lvds0_pins_a>;
        pinctrl-1 = <&lvds0_pins_b>;
        lvds0_pinctrl-0 = <&lvds0_pins_a>;
        lvds0_pinctrl-1 = <&lvds0_pins_b>;
        lvds1_pinctrl-0 = <&lvds1_pins_a>;
        lvds1_pinctrl-1 = <&lvds1_pins_b>;
        dsi0_pinctrl-0 = <&dsi0_4lane_pins_a>;
        dsi0_pinctrl-1 = <&dsi0_4lane_pins_b>;
        dual_dsi_pinctrl-0 = <&dsi0_4lane_pins_a>, <&dsi1_4lane_pins_a>;
        dual_dsi_pinctrl-1 = <&dsi0_4lane_pins_b>, <&dsi1_4lane_pins_b>;
        dual_lvds0_pinctrl-0 = <&lvds0_pins_a>, <&lvds1_pins_a>;
        dual_lvds0_pinctrl-1 = <&lvds0_pins_b>, <&lvds1_pins_b>;
};
#endif

#if 1
&lcd1 {
        lcd_used            = <1>;
        status              = "disabled";
        lcd_driver_name     = "SQ101D_Q5DI404_84H501";
        lcd_backlight       = <200>;
        lcd_if              = <4>;

        lcd_x               = <1200>;
        lcd_y               = <1920>;
        lcd_width           = <136>;
        lcd_height          = <217>;
        lcd_dclk_freq       = <157>;

        lcd_pwm_used        = <1>;
        lcd_pwm_ch          = <0>;
        lcd_pwm_freq        = <50000>;
        lcd_pwm_pol         = <0>;
        lcd_pwm_max_limit   = <255>;

        lcd_hbp             = <50>;
        lcd_ht              = <1330>;
        lcd_hspw            = <10>;
        lcd_vbp             = <20>;
        lcd_vt              = <1960>;
        lcd_vspw            = <4>;

        lcd_frm             = <0>;
        lcd_gamma_en        = <0>;
        lcd_bright_curve_en = <0>;
        lcd_cmap_en         = <0>;

        deu_mode            = <0>;
        lcdgamma4iep        = <22>;
        smart_color         = <90>;

        lcd_dsi_if          = <0>;
        lcd_dsi_lane        = <4>;
        lcd_dsi_format      = <0>;
        lcd_dsi_te          = <0>;
        lcd_dsi_eotp        = <0>;
        lcd_start_delay     = <5>;

        lcd_pin_power = "cldo3";

        lcd_power1 = "cldo4";
        lcd_power2 = "cldo1";

        lcd_gpio_2 = <&pio PD 22 GPIO_ACTIVE_HIGH>; //reset

        pinctrl-0 = <&dsi1_4lane_pins_a>;
        pinctrl-1 = <&dsi1_4lane_pins_b>;

        lcd_bl_en = <&pio PH 16 GPIO_ACTIVE_HIGH>;
        lcd_bl_0_percent        = <5>;
};
#else
&lcd1 {
        lcd_used            = <1>;

        lcd_driver_name     = "default_lcd";
        lcd_backlight       = <50>;
        lcd_if              = <0>;

        lcd_x               = <800>;
        lcd_y               = <480>;
        lcd_width           = <150>;
        lcd_height          = <94>;
        lcd_dclk_freq       = <48>;

        lcd_pwm_used        = <1>;
        lcd_pwm_ch          = <7>;
        lcd_pwm_freq        = <50000>;
        lcd_pwm_pol         = <0>;

        lcd_hbp             = <55>;
        lcd_ht              = <1240>;
        lcd_hspw            = <20>;
        lcd_vbp             = <35>;
        lcd_vt              = <650>;
        lcd_vspw            = <10>;

        lcd_lvds_if         = <0>;
        lcd_lvds_colordepth = <1>;
        lcd_lvds_mode       = <0>;
        lcd_frm             = <1>;
        lcd_io_phase        = <0x0000>;
        lcd_gamma_en        = <0>;
        lcd_bright_curve_en = <0>;
        lcd_cmap_en         = <0>;

        deu_mode            = <0>;
        lcdgamma4iep        = <22>;
        smart_color         = <90>;

};
#endif

&lcd2{
        lcd_used            = <1>;
        status              = "disabled";
        lcd_driver_name     = "bp101wx1";
        lcd_backlight       = <50>;
        lcd_if              = <3>;

        lcd_x               = <1280>;
        lcd_y               = <800>;
        lcd_width           = <150>;
        lcd_height          = <94>;
        lcd_dclk_freq       = <75>;

        lcd_pwm_used        = <1>;
        lcd_pwm_ch          = <5>;
        lcd_pwm_freq        = <50000>;
        lcd_pwm_pol         = <0>;
        lcd_pwm_max_limit   = <255>;


        lcd_hbp             = <88>;
        lcd_ht              = <1451>;
        lcd_hspw            = <18>;
        lcd_vbp             = <23>;
        lcd_vt              = <860>;
        lcd_vspw            = <10>;

        lcd_lvds_if         = <0>;
        lcd_lvds_colordepth = <0>;
        lcd_lvds_mode       = <0>;
        lcd_frm             = <0>;
        lcd_hv_clk_phase    = <0>;
        lcd_hv_sync_polarity= <0>;
        lcd_gamma_en        = <0>;
        lcd_bright_curve_en = <0>;
        lcd_cmap_en         = <0>;
        lcd_fsync_en        = <0>;
        lcd_fsync_pol       = <0>;

        deu_mode            = <0>;
        lcdgamma4iep        = <22>;
        smart_color         = <90>;

        lcd_pin_power = "cldo3";
        lcd_power = "dcdc4";

        lcd_bl_en        = <&pio PI 5 1 0 3 1>;
        pinctrl-0 = <&lvds2_pins_a>;
        pinctrl-1 = <&lvds2_pins_b>;
        lvds2_pinctrl-0 = <&lvds2_pins_a>;
        lvds2_pinctrl-1 = <&lvds2_pins_b>;
        lvds3_pinctrl-0 = <&lvds3_pins_a>;
        lvds3_pinctrl-1 = <&lvds3_pins_b>;
        dual_lvds1_pinctrl-0 = <&lvds2_pins_a>, <&lvds3_pins_a>;
        dual_lvds1_pinctrl-1 = <&lvds2_pins_b>, <&lvds3_pins_b>;
};

&edp0 {
	// use if hardware reset pin is need
	/* edp_hw_reset_pin = <&pio PH XX GPIO_ACTIVE_LOW>; */

	edp_ssc_en = <0>;
	edp_ssc_mode = <0>;
	edp_psr_support = <0>;
	edp_colordepth = <8>; /* 6/8/10/12/16 */

	lane0_sw = <0>;
	lane0_pre = <0>;
	lane1_sw = <0>;
	lane1_pre = <0>;
	lane2_sw = <0>;
	lane2_pre = <0>;
	lane3_sw = <0>;
	lane3_pre = <0>;
	efficient_training = <0>;

	sink_capacity_prefer = <1>;
	edid_timings_prefer = <1>;
	timings_fixed = <1>;

	edp_panel_used = <1>;
	edp_panel_driver = "general_panel";
	edp_bl_en = <&pio PI 5 1 0 3 1>;
	edp_pwm_used = <1>;
	edp_pwm_ch = <5>;
	edp_pwm_freq = <50000>;
	edp_pwm_pol = <0>;
	edp_default_backlight = <200>;
	edp_panel_power_0 = "edp-panel";

	vcc-edp-supply = <&reg_bldo3>;
	vdd-edp-supply = <&reg_dcdc2>;
	edp-panel-supply = <&reg_dcdc4>;
	status = "disabled";
};

&aliases {
	nand0 = &nand0;
	twi6 = &twi6;
	pwm = &pwm;
	pwm0 = &pwm0;
	pwm1 = &pwm1;
	pwm2 = &pwm2;
	pwm3 = &pwm3;
	pwm4 = &pwm4;
	pwm5 = &pwm5;
	pwm6 = &pwm6;
	pwm7 = &pwm7;
	pwm8 = &pwm8;
	pwm9 = &pwm9;
	disp = &disp;
	lcd0 = &lcd0;
	lcd1 = &lcd1;
	lcd2 = &lcd2;
	eink = &eink;
	edp0 = &edp0;
	pmu0 = &pmu0;

};
